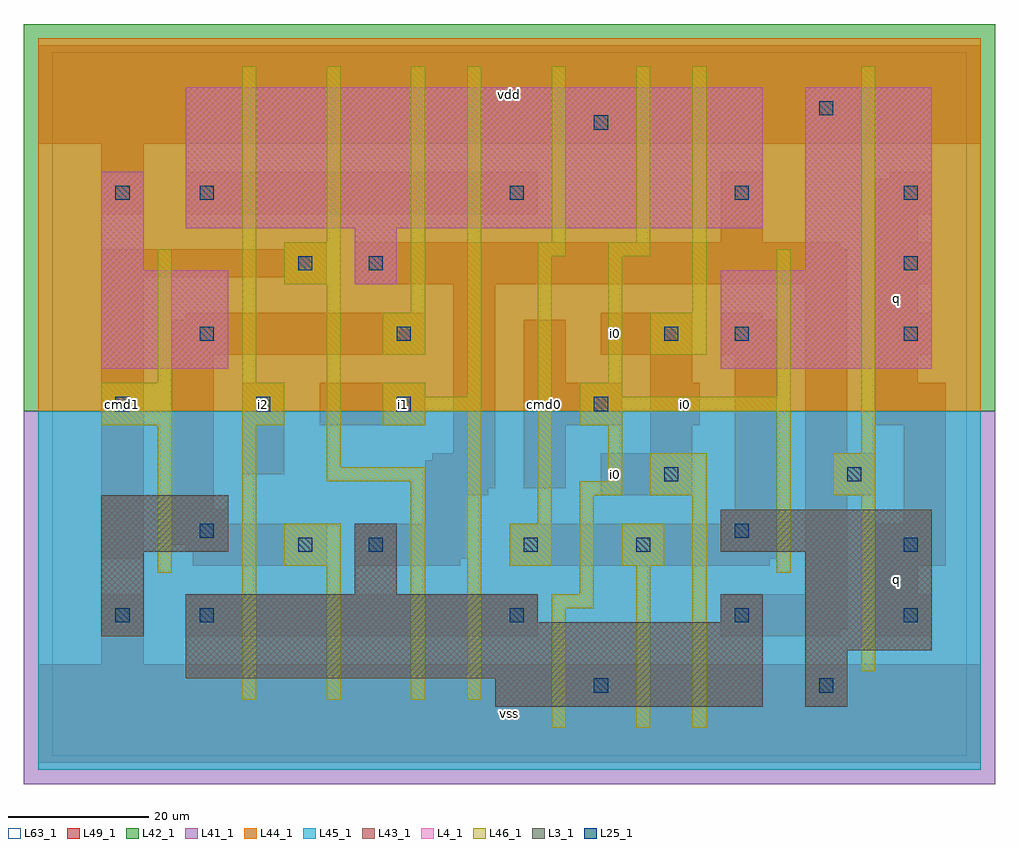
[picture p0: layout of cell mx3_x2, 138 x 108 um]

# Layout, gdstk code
import gdstk
lib = gdstk.Library(unit=1e-6, precision=1e-09)
def R(c, l, rs):  # rectangles x0, y0, x1, y1
    for r in rs: c.add(gdstk.rectangle(r[:2], r[2:], *l))
def A(c, l, x, y, w, h, nx, ny, dx, dy):  # array of equal rectangles
    R(c, l, [(x+i*dx, y+j*dy, x+i*dx+w, y+j*dy+h) for i in range(nx) for j in range(ny)])
L3_1 = (3, 1)
L4_1 = (4, 1)
L25_1 = (25, 1)
L41_1 = (41, 1)
L42_1 = (42, 1)
L43_1 = (43, 1)
L44_1 = (44, 1)
L45_1 = (45, 1)
L46_1 = (46, 1)
L49_1 = (49, 1)
L63_1 = (63, 1)

mx3_x2 = lib.new_cell('mx3_x2')
R(mx3_x2, L3_1, [(63,7,101,11), (107,7,113,15), (19,11,101,19), (107,15,125,29), (7,17,13,29), (19,19,69,23), (95,19,101,23), (43,23,49,33), (7,29,25,37), (95,29,125,35)])
R(mx3_x2, L4_1, [(7,55,25,69), (95,55,125,69), (43,67,49,75), (7,69,13,83), (107,69,125,95), (19,75,101,95)])
A(mx3_x2, L25_1, 77, 9, 2, 2, 1, 3, 0, 40)
A(mx3_x2, L25_1, 9, 49, 2, 2, 3, 1, 20, 0)
A(mx3_x2, L25_1, 121, 59, 2, 2, 1, 3, 0, 10)
R(mx3_x2, L25_1, [(109,9,111,11), (9,19,11,21), (21,19,23,21), (65,19,67,21), (97,19,99,21), (121,19,123,21), (35,29,37,31), (45,29,47,31), (67,29,69,31), (83,29,85,31), (121,29,123,31), (21,31,23,33), (97,31,99,33), (87,39,89,41), (113,39,115,41), (21,59,23,61), (49,59,51,61), (87,59,89,61), (97,59,99,61), (35,69,37,71), (45,69,47,71), (9,79,11,81), (21,79,23,81), (65,79,67,81), (97,79,99,81), (109,91,111,93)])
R(mx3_x2, L41_1, [(-4,-4,134,49)])
R(mx3_x2, L42_1, [(-4,49,134,104)])
R(mx3_x2, L43_1, [(63,7,101,11), (107,7,113,15), (19,11,101,19), (107,15,125,29), (7,17,13,29), (19,19,69,23), (95,19,101,23), (43,23,49,33), (7,29,25,37), (95,29,125,35), (7,55,25,69), (95,55,125,69), (43,67,49,75), (7,69,13,83), (107,69,125,95), (19,75,101,95)])
R(mx3_x2, L44_1, [(-2,49,132,102)])
R(mx3_x2, L45_1, [(-2,-2,132,49)])
R(mx3_x2, L46_1, [(71,4,73,21), (83,4,85,27), (91,4,93,37), (27,8,29,47), (39,8,41,27), (51,8,53,39), (59,8,61,49), (115,12,117,37), (71,21,77,23), (75,23,77,37), (15,26,17,47), (103,26,105,49), (33,27,41,33), (65,27,71,33), (81,27,87,33), (69,33,71,71), (75,37,81,39), (85,37,93,43), (111,37,117,43), (39,39,53,41), (79,39,81,47), (39,41,41,67), (115,43,117,98), (7,47,17,53), (27,47,33,53), (47,47,53,49), (75,47,81,49), (47,49,61,51), (75,49,105,51), (47,51,53,53), (59,51,61,98), (75,51,81,53), (103,51,105,72), (15,53,17,72), (27,53,29,98), (79,53,81,71), (47,57,53,63), (85,57,93,63), (51,63,53,98), (91,63,93,98), (33,67,41,73), (69,71,73,73), (79,71,85,73), (39,73,41,98), (71,73,73,98), (83,73,85,98)])
A(mx3_x2, L49_1, 117, 53, 6, 4, 1, 3, 0, 10)
R(mx3_x2, L49_1, [(-2,-1,132,13), (7,13,13,23), (19,17,69,23), (95,17,112,18), (117,17,125,23), (95,18,113,23), (107,23,113,37), (117,23,123,27), (20,27,39,29), (43,27,58,28), (65,27,102,28), (117,27,127,33), (7,28,13,68), (43,28,59,33), (65,28,103,33), (19,29,39,30), (17,30,39,33), (17,33,25,35), (53,33,59,37), (95,33,103,35), (121,33,127,47), (17,35,23,57), (97,35,103,57), (53,37,62,38), (78,37,91,43), (107,37,117,43), (53,38,63,42), (67,38,73,47), (27,40,33,53), (54,42,63,43), (57,43,63,67), (85,43,91,47), (107,43,113,67), (38,47,53,53), (67,47,81,53), (85,47,92,53), (117,47,127,53), (67,53,73,62), (85,53,91,57), (17,57,53,62), (78,57,91,63), (95,57,103,62), (117,57,125,63), (19,62,53,63), (95,62,101,63), (33,67,39,68), (43,67,113,72), (117,67,125,73), (7,68,39,72), (33,72,39,73), (43,72,112,73), (95,73,101,83), (7,77,13,87), (19,77,69,83), (117,77,125,82), (119,82,125,83), (-2,87,132,101)])
R(mx3_x2, L63_1, [(0,0,130,100)])
mx3_x2.add(gdstk.Label('cmd1', (10,50), layer=49, texttype=1))
mx3_x2.add(gdstk.Label('cmd1', (10,50), layer=49, texttype=1))
mx3_x2.add(gdstk.Label('i2', (30,50), layer=49, texttype=1))
mx3_x2.add(gdstk.Label('i2', (30,50), layer=49, texttype=1))
mx3_x2.add(gdstk.Label('vss', (65,6), layer=49, texttype=1))
mx3_x2.add(gdstk.Label('vss', (65,6), layer=49, texttype=1))
mx3_x2.add(gdstk.Label('i1', (50,50), layer=49, texttype=1))
mx3_x2.add(gdstk.Label('i1', (50,50), layer=49, texttype=1))
mx3_x2.add(gdstk.Label('cmd0', (70,50), layer=49, texttype=1))
mx3_x2.add(gdstk.Label('cmd0', (70,50), layer=49, texttype=1))
mx3_x2.add(gdstk.Label('vdd', (65,94), layer=49, texttype=1))
mx3_x2.add(gdstk.Label('vdd', (65,94), layer=49, texttype=1))
mx3_x2.add(gdstk.Label('i0', (80,40), layer=49, texttype=1))
mx3_x2.add(gdstk.Label('i0', (80,40), layer=49, texttype=1))
mx3_x2.add(gdstk.Label('i0', (90,50), layer=49, texttype=1))
mx3_x2.add(gdstk.Label('i0', (90,50), layer=49, texttype=1))
mx3_x2.add(gdstk.Label('i0', (80,60), layer=49, texttype=1))
mx3_x2.add(gdstk.Label('i0', (80,60), layer=49, texttype=1))
mx3_x2.add(gdstk.Label('q', (120,25), layer=49, texttype=1))
mx3_x2.add(gdstk.Label('q', (120,25), layer=49, texttype=1))
mx3_x2.add(gdstk.Label('q', (120,65), layer=49, texttype=1))
mx3_x2.add(gdstk.Label('q', (120,65), layer=49, texttype=1))

lib.write_gds('mx3_x2.gds')
